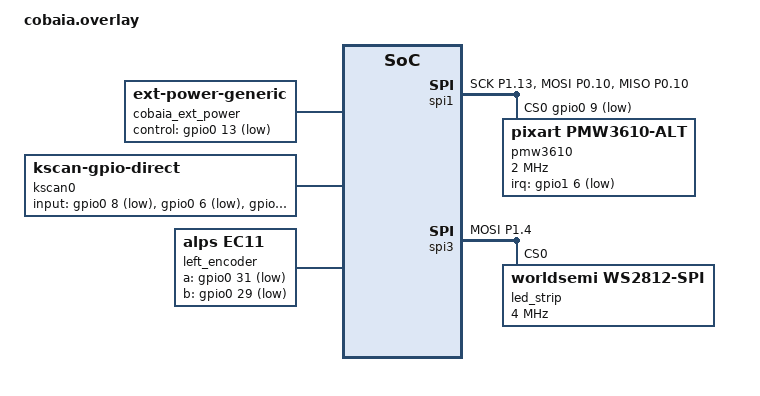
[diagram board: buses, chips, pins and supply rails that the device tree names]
#include <zephyr/dt-bindings/input/input-event-codes.h>
#include <zephyr/dt-bindings/led/led.h>
#include <dt-bindings/zmk/matrix_transform.h>
#include <input/processors.dtsi>

/ {
    chosen {
        zmk,kscan = &kscan0;
        zmk,underglow = &led_strip;
        zmk,pointing = &pmw3610;
    };

    cobaia_ext_power: cobaia_ext_power {
        compatible = "zmk,ext-power-generic";
        control-gpios = <&gpio0 13 GPIO_ACTIVE_LOW>;
        init-delay-ms = <50>;
    };

    kscan0: kscan_0 {
        compatible = "zmk,kscan-gpio-direct";
        wakeup-source;
        input-gpios
            = <&gpio0  8 (GPIO_ACTIVE_LOW | GPIO_PULL_UP)>   /* LMB */
            , <&gpio0  6 (GPIO_ACTIVE_LOW | GPIO_PULL_UP)>   /* RMB */
            , <&gpio0 17 (GPIO_ACTIVE_LOW | GPIO_PULL_UP)>   /* MMB */
            , <&gpio0 20 (GPIO_ACTIVE_LOW | GPIO_PULL_UP)>   /* SIDE_1 */
            , <&gpio0 22 (GPIO_ACTIVE_LOW | GPIO_PULL_UP)>   /* SIDE_2 */
            , <&gpio0 24 (GPIO_ACTIVE_LOW | GPIO_PULL_UP)>   /* TOP_1 */
            , <&gpio1  0 (GPIO_ACTIVE_LOW | GPIO_PULL_UP)>   /* TOP_2 */
            , <&gpio1 15 (GPIO_ACTIVE_LOW | GPIO_PULL_UP)>   /* TOP_3 */
            , <&gpio0 11 (GPIO_ACTIVE_LOW | GPIO_PULL_UP)>   /* BTN_INF */
            ;
    };

    left_encoder: encoder_left {
        compatible = "alps,ec11";
        a-gpios = <&gpio0 31 (GPIO_ACTIVE_LOW | GPIO_PULL_UP)>; /* SCROLL_A */
        b-gpios = <&gpio0 29 (GPIO_ACTIVE_LOW | GPIO_PULL_UP)>; /* SCROLL_B */
        steps = <24>;
        resolution = <4>;
        status = "okay";
    };

    sensors {
        compatible = "zmk,keymap-sensors";
        sensors = <&left_encoder>;
        triggers-per-rotation = <24>;
    };

    pmw3610_listener {
        compatible = "zmk,input-listener";
        device = <&pmw3610>;

        /* If Layer 1 is active, multiply the speed by 4/5 (1000 -> 800 DPI) */
        layer_slow {
            layers = <1>;
            input-processors = <&zip_xy_scaler 4 5>;
        };

        /* If Layer 2 is active, multiply the speed by 6/5 (1000 -> 1200 DPI) */
        layer_fast {
            layers = <2>;
            input-processors = <&zip_xy_scaler 6 5>;
        };
    };
};

&pinctrl {
    spi1_default: spi1_default {
        group1 {
            psels = <NRF_PSEL(SPIM_SCK, 1, 13)>,         /* SCLK */
                    <NRF_PSEL(SPIM_MOSI, 0, 10)>,        /* SDIO (TX) */
                    <NRF_PSEL(SPIM_MISO, 0, 10)>;        /* SDIO (RX) */
        };
    };

    spi1_sleep: spi1_sleep {
        group1 {
            psels = <NRF_PSEL(SPIM_SCK, 1, 13)>,
                    <NRF_PSEL(SPIM_MOSI, 0, 10)>,
                    <NRF_PSEL(SPIM_MISO, 0, 10)>;
            low-power-enable;
        };
    };
    
    spi3_default: spi3_default {
        group1 {
            psels = <NRF_PSEL(SPIM_MOSI, 1, 4)>;         /* LED_DIN */
        };
    };

    spi3_sleep: spi3_sleep {
        group1 {
            psels = <NRF_PSEL(SPIM_MOSI, 1, 4)>;
            low-power-enable;
        };
    };
};

&spi1 {
    status = "okay";
    compatible = "nordic,nrf-spim";
    pinctrl-0 = <&spi1_default>;
    pinctrl-1 = <&spi1_sleep>;
    pinctrl-names = "default", "sleep";
    cs-gpios = <&gpio0 9 GPIO_ACTIVE_LOW>;               

    pmw3610: pmw3610@0 {
        status = "okay";
        compatible = "pixart,pmw3610-alt";
        reg = <0>;
        spi-max-frequency = <2000000>;
        irq-gpios = <&gpio1 6 (GPIO_ACTIVE_LOW | GPIO_PULL_UP)>; 
        
        /* INPUT SUBSYSTEM UPDATE */
        evt-type = <INPUT_EV_REL>;
        x-input-code = <INPUT_REL_X>;
        y-input-code = <INPUT_REL_Y>;
        
        /* BASE HARDWARE CPI DEFINITION */
        cpi = <1000>;
        
        /* invert-y; */
        invert-x;
        swap-xy;
    };
};

&spi3 {
    status = "okay";
    compatible = "nordic,nrf-spim";
    pinctrl-0 = <&spi3_default>;
    pinctrl-1 = <&spi3_sleep>;
    pinctrl-names = "default", "sleep";
    
    led_strip: ws2812@0 {
        compatible = "worldsemi,ws2812-spi";
        reg = <0>;
        spi-max-frequency = <4000000>;
        chain-length = <6>;
        spi-one-frame = <0x70>;
        spi-zero-frame = <0x40>;
        color-mapping = <2 1 0>;
    };
};
